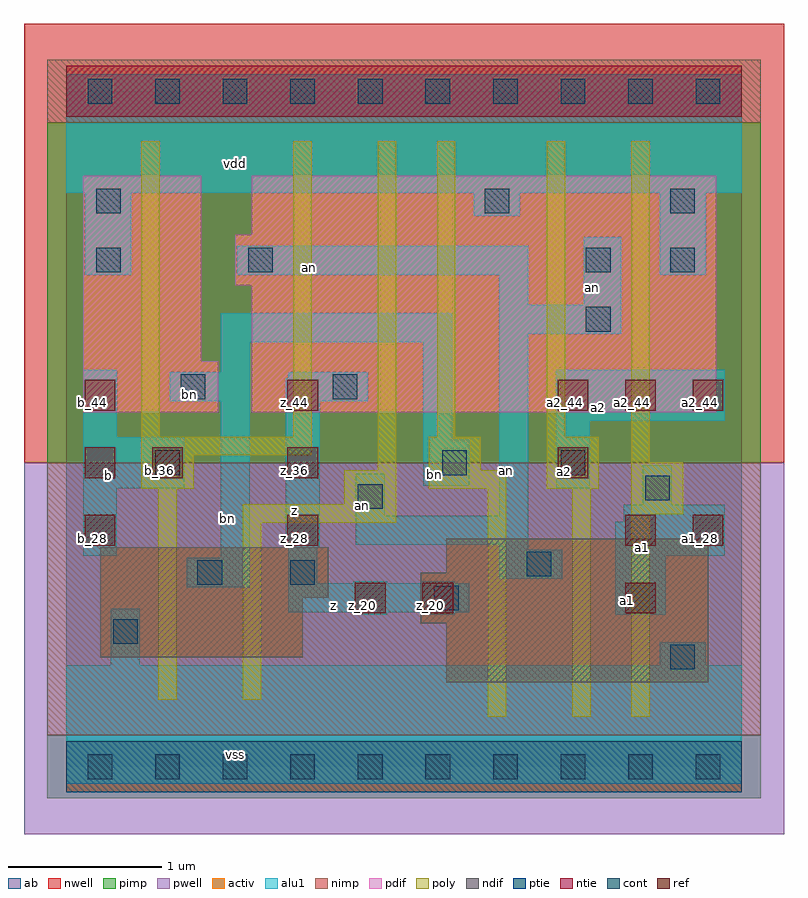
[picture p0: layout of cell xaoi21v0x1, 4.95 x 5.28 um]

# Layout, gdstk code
import gdstk
lib = gdstk.Library(unit=1e-6, precision=2.5e-09)
def R(c, l, rs):  # rectangles x0, y0, x1, y1
    for r in rs: c.add(gdstk.rectangle(r[:2], r[2:], *l))
def A(c, l, x, y, w, h, nx, ny, dx, dy):  # array of equal rectangles
    R(c, l, [(x+i*dx, y+j*dy, x+i*dx+w, y+j*dy+h) for i in range(nx) for j in range(ny)])
ndif = (3, 0)
pdif = (4, 0)
ntie = (5, 0)
ptie = (6, 0)
ref = (24, 0)
cont = (25, 0)
pwell = (41, 0)
nwell = (42, 0)
activ = (43, 0)
pimp = (44, 0)
nimp = (45, 0)
poly = (46, 0)
alu1 = (49, 0)
ab = (63, 0)

xaoi21v0x1 = lib.new_cell('xaoi21v0x1')
R(xaoi21v0x1, ndif, [(2.475,0.55,4.18,0.935), (0.22,0.715,1.54,1.1), (2.31,0.935,4.18,1.265), (0.22,1.1,1.705,1.43), (2.475,1.265,4.18,1.485)])
R(xaoi21v0x1, pdif, [(0.11,2.31,0.99,2.64), (1.21,2.31,4.235,3.135), (0.11,2.64,0.88,3.85), (1.1,3.135,4.235,3.465), (1.21,3.465,4.235,3.85)])
R(xaoi21v0x1, ntie, [(0,4.235,4.4,4.565)])
R(xaoi21v0x1, ptie, [(0,-0.165,4.4,0.165)])
A(xaoi21v0x1, ref, 0.12, 1.44, 0.2, 0.2, 1, 3, 0, 0.44)
A(xaoi21v0x1, ref, 1.44, 1.44, 0.2, 0.2, 1, 3, 0, 0.44)
A(xaoi21v0x1, ref, 3.2, 2.32, 0.2, 0.2, 3, 1, 0.44, 0)
R(xaoi21v0x1, ref, [(1.88,1,2.08,1.2), (2.32,1,2.52,1.2), (3.64,1,3.84,1.2), (3.64,1.44,3.84,1.64), (4.08,1.44,4.28,1.64), (0.56,1.88,0.76,2.08), (3.2,1.88,3.4,2.08)])
A(xaoi21v0x1, cont, 0.14, -0.08, 0.16, 0.16, 10, 2, 0.44, 4.4)
R(xaoi21v0x1, cont, [(3.935,0.635,4.095,0.795), (0.305,0.8,0.465,0.96), (2.395,1.02,2.555,1.18), (0.855,1.185,1.015,1.345), (1.46,1.185,1.62,1.345), (3,1.24,3.16,1.4), (1.9,1.68,2.06,1.84), (3.77,1.735,3.93,1.895), (0.58,1.9,0.74,2.06), (2.45,1.9,2.61,2.06), (3.22,1.9,3.38,2.06), (0.745,2.395,0.905,2.555), (1.735,2.395,1.895,2.555), (3.385,2.835,3.545,2.995), (0.195,3.22,0.355,3.38), (1.185,3.22,1.345,3.38), (3.385,3.22,3.545,3.38), (3.935,3.22,4.095,3.38), (0.195,3.605,0.355,3.765), (2.725,3.605,2.885,3.765), (3.935,3.605,4.095,3.765)])
R(xaoi21v0x1, pwell, [(-0.275,-0.44,4.675,1.98)])
R(xaoi21v0x1, nwell, [(-0.275,1.98,4.675,4.84)])
R(xaoi21v0x1, activ, [(0,-0.165,4.4,0.165), (2.475,0.55,4.18,0.935), (0.22,0.715,1.54,1.1), (2.31,0.935,4.18,1.265), (0.22,1.1,1.705,1.43), (2.475,1.265,4.18,1.485), (0.11,2.31,0.99,2.64), (1.21,2.31,4.235,3.135), (0.11,2.64,0.88,3.85), (1.1,3.135,4.235,3.465), (1.21,3.465,4.235,3.85), (0,4.235,4.4,4.565)])
R(xaoi21v0x1, pimp, [(-0.125,-0.205,4.525,0.205), (-0.125,1.98,4.525,4.195)])
R(xaoi21v0x1, nimp, [(-0.125,0.205,4.525,1.98), (-0.125,4.195,4.525,4.605)])
R(xaoi21v0x1, poly, [(2.745,0.325,2.865,1.81), (3.295,0.325,3.415,1.81), (3.68,0.325,3.8,1.645), (0.6,0.435,0.72,1.81), (1.15,0.435,1.27,1.59), (1.15,1.59,2.15,1.71), (3.68,1.645,4.02,1.985), (1.81,1.71,2.15,1.93), (0.49,1.81,0.83,2.03), (2.36,1.81,2.865,1.93), (3.13,1.81,3.47,2.15), (2.03,1.93,2.15,4.075), (2.36,1.93,2.7,2.15), (3.68,1.985,3.8,4.075), (0.49,2.03,1.6,2.15), (0.49,2.15,0.61,4.075), (1.48,2.15,1.6,4.075), (2.415,2.15,2.535,4.075), (3.13,2.15,3.25,4.075)])
R(xaoi21v0x1, alu1, [(0,-0.11,4.4,0.66), (0.29,0.66,0.48,1.03), (3.865,0.66,4.165,0.81), (1.87,0.99,2.09,1.005), (2.31,0.99,2.53,1.005), (3.575,0.99,3.905,1.375), (1.445,1.005,2.625,1.195), (0.785,1.17,1.195,1.36), (1.445,1.195,1.635,1.43), (1.87,1.195,2.09,1.21), (2.31,1.195,2.53,1.21), (2.82,1.225,3.23,1.415), (1.005,1.36,1.195,2.38), (0.11,1.375,0.33,1.815), (3.575,1.375,4.29,1.595), (2.82,1.415,3.01,1.445), (1.43,1.43,1.65,2.38), (1.885,1.445,3.01,1.635), (3.63,1.595,4.29,1.705), (1.885,1.635,2.075,1.91), (2.82,1.635,3.01,2.82), (3.755,1.705,3.945,1.965), (0.11,1.815,0.77,2.145), (3.19,1.815,3.41,2.255), (2.325,1.83,2.625,2.13), (2.325,2.13,2.515,2.765), (0.11,2.145,0.33,2.585), (3.19,2.255,4.29,2.585), (0.675,2.38,1.195,2.57), (1.43,2.38,1.965,2.53), (1.445,2.53,1.965,2.57), (1.005,2.57,1.195,2.765), (1.005,2.765,2.515,2.955), (2.82,2.82,3.615,3.01), (2.82,3.01,3.01,3.205), (3.37,3.01,3.615,3.45), (0.125,3.205,0.425,3.74), (1.115,3.205,3.01,3.395), (3.865,3.205,4.165,3.74), (2.655,3.59,2.955,3.74), (0,3.74,4.4,4.51)])
R(xaoi21v0x1, ab, [(0,0,4.4,4.4)])
xaoi21v0x1.add(gdstk.Label('vss', (1.1,0.0825), layer=49, texttype=0))
xaoi21v0x1.add(gdstk.Label('a1', (3.6575,1.085), layer=49, texttype=0))
xaoi21v0x1.add(gdstk.Label('z', (1.74,1.0525), layer=49, texttype=0))
xaoi21v0x1.add(gdstk.Label('a1', (3.7525,1.43), layer=49, texttype=0))
xaoi21v0x1.add(gdstk.Label('a2', (3.245,1.925), layer=49, texttype=0))
xaoi21v0x1.add(gdstk.Label('a2', (3.465,2.3375), layer=49, texttype=0))
xaoi21v0x1.add(gdstk.Label('an', (2.8675,1.93), layer=49, texttype=0))
xaoi21v0x1.add(gdstk.Label('bn', (2.4,1.905), layer=49, texttype=0))
xaoi21v0x1.add(gdstk.Label('an', (1.9325,1.7025), layer=49, texttype=0))
xaoi21v0x1.add(gdstk.Label('z', (1.485,1.6675), layer=49, texttype=0))
xaoi21v0x1.add(gdstk.Label('bn', (1.0525,1.615), layer=49, texttype=0))
xaoi21v0x1.add(gdstk.Label('b', (0.275,1.8975), layer=49, texttype=0))
xaoi21v0x1.add(gdstk.Label('bn', (0.805,2.4275), layer=49, texttype=0))
xaoi21v0x1.add(gdstk.Label('an', (3.43,3.12), layer=49, texttype=0))
xaoi21v0x1.add(gdstk.Label('an', (1.5875,3.2525), layer=49, texttype=0))
xaoi21v0x1.add(gdstk.Label('vdd', (1.1,3.9325), layer=49, texttype=0))
xaoi21v0x1.add(gdstk.Label('b_36', (0.61,1.93), layer=24, texttype=0))
xaoi21v0x1.add(gdstk.Label('z_28', (1.49,1.49), layer=24, texttype=0))
xaoi21v0x1.add(gdstk.Label('z_36', (1.49,1.93), layer=24, texttype=0))
xaoi21v0x1.add(gdstk.Label('z_44', (1.49,2.37), layer=24, texttype=0))
xaoi21v0x1.add(gdstk.Label('z_20', (1.93,1.05), layer=24, texttype=0))
xaoi21v0x1.add(gdstk.Label('b_28', (0.17,1.49), layer=24, texttype=0))
xaoi21v0x1.add(gdstk.Label('b_36', (0.17,1.93), layer=24, texttype=0))
xaoi21v0x1.add(gdstk.Label('b_44', (0.17,2.37), layer=24, texttype=0))
xaoi21v0x1.add(gdstk.Label('z_20', (2.37,1.05), layer=24, texttype=0))
xaoi21v0x1.add(gdstk.Label('a2_36', (3.25,1.93), layer=24, texttype=0))
xaoi21v0x1.add(gdstk.Label('a2_44', (3.25,2.37), layer=24, texttype=0))
xaoi21v0x1.add(gdstk.Label('a1_20', (3.69,1.05), layer=24, texttype=0))
xaoi21v0x1.add(gdstk.Label('a1_28', (3.69,1.49), layer=24, texttype=0))
xaoi21v0x1.add(gdstk.Label('a2_44', (3.69,2.37), layer=24, texttype=0))
xaoi21v0x1.add(gdstk.Label('a1_28', (4.13,1.49), layer=24, texttype=0))
xaoi21v0x1.add(gdstk.Label('a2_44', (4.13,2.37), layer=24, texttype=0))

lib.write_gds('xaoi21v0x1.gds')
